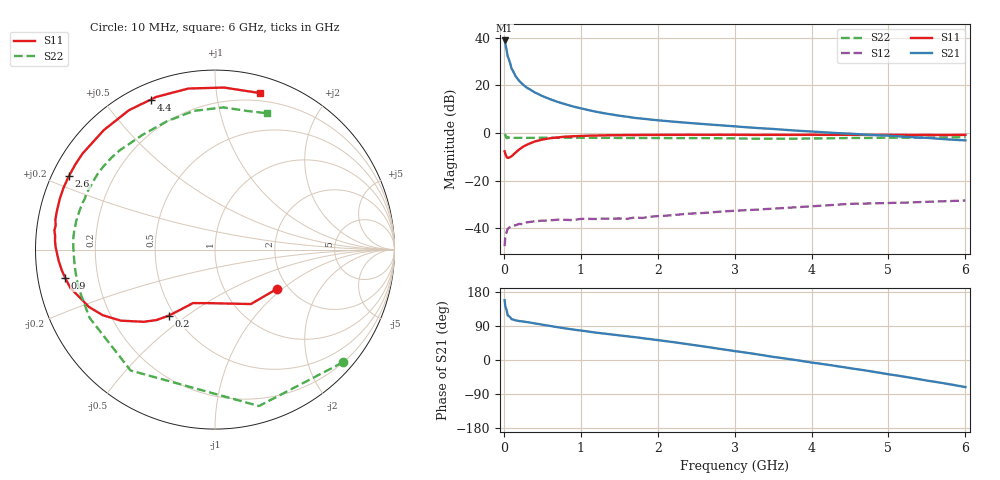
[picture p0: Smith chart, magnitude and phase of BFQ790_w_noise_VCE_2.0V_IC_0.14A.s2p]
! (c) 2015  Infineon Technologies AG, Munich
! Infineon Technologies  Discrete & RF Semiconductors
! BFQ790
! VCE =  2.0 V,  IC = 0.14 A
! Common Emitter S-Parameters:  May 2015
# GHz  S  MA  R  50
!  f  S11  S21  S12  S22
! GHz  MAG  ANG  MAG  ANG  MAG  ANG  MAG  ANG
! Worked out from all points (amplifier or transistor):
!   77 points, 10 MHz to 6 GHz, reference 50 ohm
!   highest |S21| = 38.8 dB at 10 MHz (marker M1)
!   |S21| within 3 dB of that: start of sweep to 29.38 MHz
!   unconditionally stable (mu >= 1): 1.076 GHz to end of sweep
!   at 130 MHz: K = 0.69, MSG = 32.1 dB, |S12| = -38.9 dB
!   at 2.2 GHz: K = 1.23, MAG = 16.7 dB, |S12| = -34.5 dB
!   at 6 GHz: K = 1.16, MAG = 10.2 dB, |S12| = -28.4 dB
!   lowest NFmin = 2.89 dB at 1.5 GHz
!   S11 on the Smith chart (normalised r, x): 10 MHz: 1.76, -0.92; 200 MHz: 0.46, -0.43; 900 MHz: 0.08, -0.09; 2.6 GHz: 0.05, +0.24; 4.4 GHz: 0.07, +0.66; 6 GHz: 0.13, +1.32
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0.01  0.4099 -32.0  86.8 157.8  0.0042 67.7  0.9498 -41.4
0.02  0.3634 -56.6  72.17 140.6  0.007 50.3  0.9053 -74.3
0.05  0.2993 -93.9  40.59 117.7  0.0098 27.6  0.8214 -124.9
0.1  0.3222 -112.4  22.35 107.7  0.0111 18.6  0.7956 -151.5
0.15  0.3821 -119.5  15.68 104.7  0.0115 20.2  0.7879 -161.9
0.2  0.4492 -125.0  12.31 102.8  0.0123 18.1  0.7877 -167.6
0.25  0.5112 -129.8  10.26 101.5  0.0122 16.7  0.787 -171.2
0.3  0.5649 -134.6  8.843 100.0  0.0133 13.7  0.7865 -174.0
0.4  0.6576 -143.0  7.083 96.6  0.014 15.0  0.7879 -178.3
0.5  0.7244 -149.7  5.917 93.2  0.0144 12.4  0.7897 178.7
0.6  0.7721 -155.6  5.098 89.9  0.0146 12.8  0.7917 176.2
0.7  0.8017 -160.9  4.456 86.5  0.0151 11.8  0.7918 174.0
0.9  0.849 -169.2  3.579 80.3  0.0148 7.0  0.7894 170.4
1.1  0.8726 -175.7  3.002 75.0  0.0157 8.8  0.7883 167.1
1.5  0.8942 175.0  2.294 65.0  0.016 8.5  0.7823 161.5
2.1  0.9078 163.8  1.778 49.9  0.0183 8.7  0.7781 152.6
2.6  0.9111 153.3  1.529 35.7  0.0209 6.4  0.7751 143.0
3.1  0.9084 141.8  1.332 20.8  0.0237 -1.0  0.7621 131.6
4.1  0.91 119.6  1.042 -9.4  0.0295 -13.9  0.7647 108.0
4.4  0.9092 113.2  0.978 -18.4  0.0317 -19.7  0.7757 101.0
5.1  0.905 96.9  0.851 -40.6  0.0341 -33.8  0.7916 84.6
6  0.9075 73.9  0.696 -71.6  0.0382 -53.8  0.8129 69.2
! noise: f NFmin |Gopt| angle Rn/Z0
0.45  4.62  0.43  137  0.45
0.9  3.28  0.56  166  0.15
1.5  2.89  0.67  -174  0.09
1.8  2.97  0.69  -168  0.09
2.6  3.31  0.73  -152  0.22
3.5  3.87  0.83  -136  0.52
